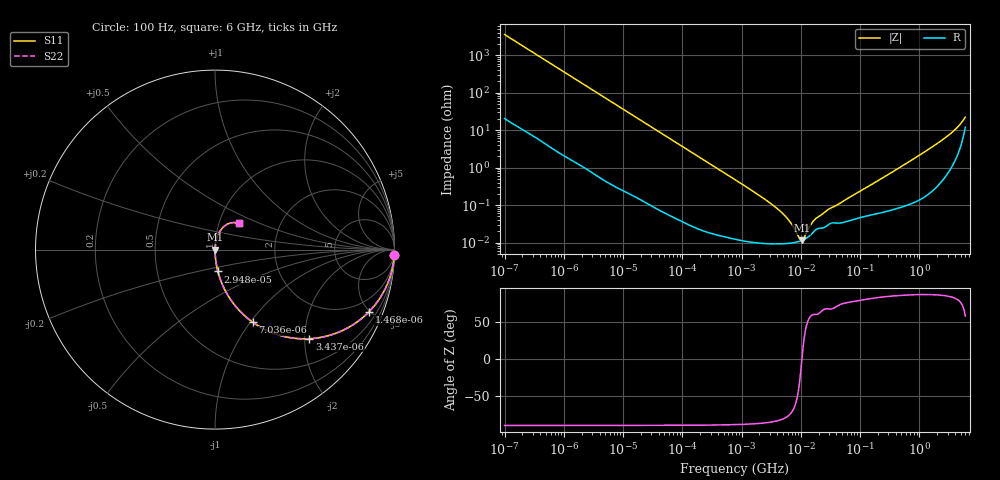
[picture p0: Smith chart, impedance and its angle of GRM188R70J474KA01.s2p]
!Murata Part Number: GRM188R70J474KA01
!These Parameters are Measured in Series Mode Connection
!Data Generated on Mar 30, 2021
!  o--ll--o
!Port1  Port2
!  o------o
!Operation Temp=25[degC], DC Bias Voltage=0[V]
!Freq. Start=100[Hz] Stop=6[GHz] 401[Steps]
# Hz S RI R 50
!Freq.(Hz) S11(Real) S11(Imag) S21(Real) S21(Imag) S12(Real) S12(Imag) S22(Real) S22(Imag)
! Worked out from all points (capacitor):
!   401 points, 100 Hz to 6 GHz, reference 50 ohm
!   read as one part in series: C = 445 nF near 109 Hz
!   lowest |Z| = 11.4 mohm at 10.4 MHz (marker M1)
!   series resonance near 10.44 MHz, so ESL is about 520 pH
!   S11 on the Smith chart (normalised r, x): 100 Hz: 1, -72; 1.468 kHz: 1.03, -4.92; 3.437 kHz: 1.01, -2.11; 7.036 kHz: 1.01, -1.03; 29.48 kHz: 1.00, -0.25; 6 GHz: 1.24, +0.38
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100  0.9991 -0.0279  0.000941 0.0279  0.000941 0.0279  0.9991 -0.0279
438  0.9847 -0.1199  0.0153 0.1199  0.0153 0.1199  0.9847 -0.1199
1468  0.8566 -0.3475  0.1434 0.3475  0.1434 0.3475  0.8566 -0.3475
2008  0.7627 -0.4224  0.2373 0.4224  0.2373 0.4224  0.7627 -0.4224
3437  0.5261 -0.4963  0.4739 0.4963  0.4739 0.4963  0.5261 -0.4963
7036  0.2118 -0.4055  0.7882 0.4055  0.7882 0.4055  0.2118 -0.4055
13169  0.0725 -0.2558  0.9275 0.2558  0.9275 0.2558  0.0725 -0.2558
29482  0.016 -0.1218  0.984 0.1218  0.984 0.1218  0.016 -0.1218
40335  0.00888 -0.0898  0.9911 0.0898  0.9911 0.0898  0.00888 -0.0898
774597  0.000145 -0.00477  0.9999 0.00477  0.9999 0.00477  0.000145 -0.00477
2372521  9.64e-05 -0.00149  0.9999 0.00149  0.9999 0.00149  9.64e-05 -0.00149
4440638  9.25e-05 -0.000692  0.9999 0.000692  0.9999 0.000692  9.25e-05 -0.000692
6353432  9.54e-05 -0.000373  0.9999 0.000373  0.9999 0.000373  9.54e-05 -0.000373
9506416  0.000108 -6.79e-05  0.9999 6.79e-05  0.9999 6.79e-05  0.000108 -6.79e-05
1.039699e7  0.000114 -2.8e-06  0.9999 2.8e-06  0.9999 2.8e-06  0.000114 -2.8e-06
1.137099e7  0.000121 6.24e-05  0.9999 -6.24e-05  0.9999 -6.24e-05  0.000121 6.24e-05
1.555665e7  0.000176 0.000292  0.9998 -0.000292  0.9998 -0.000292  0.000176 0.000292
2.911731e7  0.000298 0.000705  0.9997 -0.000705  0.9997 -0.000705  0.000298 0.000705
3.124326e8  0.000754 0.00678  0.9992 -0.00678  0.9992 -0.00678  0.000754 0.00678
2.450438e9  0.00741 0.0541  0.9926 -0.0541  0.9926 -0.0541  0.00741 0.0541
4.385646e9  0.033 0.1102  0.967 -0.1102  0.967 -0.1102  0.033 0.1102
6e9  0.1311 0.1457  0.8689 -0.1457  0.8689 -0.1457  0.1311 0.1457
